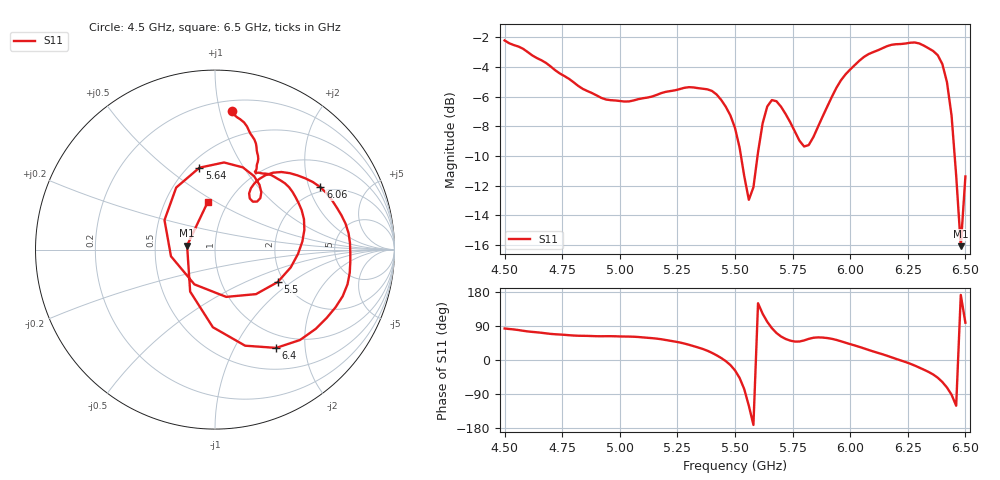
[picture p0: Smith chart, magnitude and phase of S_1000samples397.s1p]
! TOUCHSTONE file generated by CST MICROWAVE STUDIO
! Date and time: Fri Oct 28 00:50:36 2022
! Project name: L.cst
! Parameters = {Di=1.27; Epsilon_r=1.56; InnerDiameter=1.27; Length=2; Lf=10; Lg=60; OuterConductorThickness=0.2921; OuterDiameter=3.6; Wf=3; Wp=41.2; de=1.5; df=6.8; g=0.8; gx=0.723878; gy=4.34204; h=2.34; hf=1.524; px=12.2368; py=10.6615; w=9.7; wx=11.5129; wy=6.31945}
! Header version: 2018
! Port assignment regex: !\s*Touchstone port\s*([0-9]+)\s*=\s*(CST MWS port|CST DS port)\s*([0-9]+|Zmin|Zmax)\s*\(\"(.*)\"\)(\s*mode\s*([0-9]+))?.*
! Touchstone port assignment:
! Touchstone port 1 = CST MWS port 1 ("")
# GHz S DB R 50
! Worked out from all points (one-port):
!   101 points, 4.5 GHz to 6.5 GHz, reference 50 ohm
!   lowest |S11| = -16.1 dB at 6.48 GHz (marker M1), VSWR 1.37, Z = 36.5 + j1.7 ohm
!   |S11| at or under -10 dB: 5.526 GHz to 5.598 GHz (71.91 MHz wide, 1.29 % of centre); 6.453 GHz to end of sweep
!   S11 on the Smith chart (normalised r, x): 4.5 GHz: 0.28, +1.09; 5.5 GHz: 1.85, -0.79; 5.64 GHz: 0.56, +0.66; 6.06 GHz: 1.84, +2.39; 6.4 GHz: 0.80, -1.49; 6.5 GHz: 0.80, +0.46
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4.5  -2.21 83.1
4.76  -4.62 66.4
5  -6.29 62.2
5.26  -5.49 46.3
5.36  -5.46 29.1
5.42  -5.85 12.5
5.5  -8.11 -27.4
5.54  -11.35 -76.7
5.56  -12.95 -120.6
5.58  -12.11 -171.4
5.6  -9.74 149.7
5.64  -6.66 100.8
5.7  -6.68 61.9
5.76  -8.35 48.6
5.8  -9.36 51.6
5.86  -8.04 59.7
5.94  -5.41 53.0
6  -4.17 41.9
6.06  -3.32 30.6
6.18  -2.50 7.0
6.26  -2.37 -9.7
6.34  -2.74 -31.4
6.4  -3.80 -58.1
6.42  -5.02 -72.6
6.44  -7.28 -91.6
6.46  -11.31 -120.6
6.48  -16.08 171.7
6.5  -11.38 98.4
